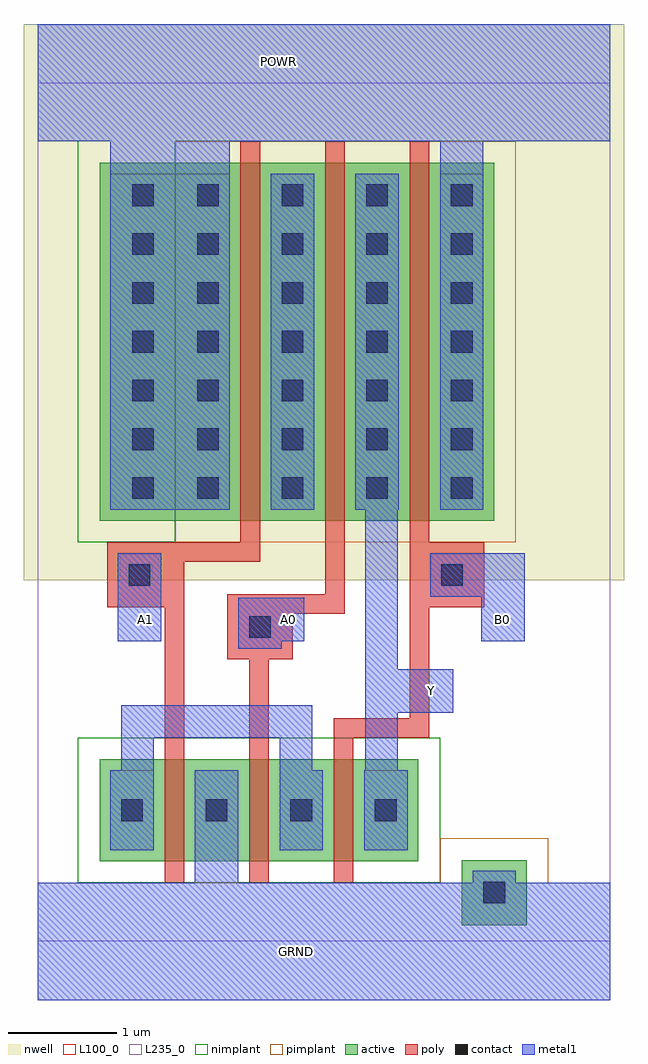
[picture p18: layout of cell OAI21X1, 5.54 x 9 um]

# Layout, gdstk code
import gdstk
lib = gdstk.Library(unit=1e-6, precision=1e-09)
def R(c, l, rs):  # rectangles x0, y0, x1, y1
    for r in rs: c.add(gdstk.rectangle(r[:2], r[2:], *l))
def A(c, l, x, y, w, h, nx, ny, dx, dy):  # array of equal rectangles
    R(c, l, [(x+i*dx, y+j*dy, x+i*dx+w, y+j*dy+h) for i in range(nx) for j in range(ny)])
def P(c, l, *ps):  # polygons
    for p in ps: c.add(gdstk.Polygon(p, *l))
active = (1, 0)
nwell = (2, 0)
poly = (3, 0)
nimplant = (4, 0)
pimplant = (5, 0)
contact = (6, 0)
metal1 = (7, 0)
L100_0 = (100, 0)
L235_0 = (235, 0)

oai21x1 = lib.new_cell('OAI21X1')
A(oai21x1, active, 0.57, 0.74, 0.6, 0.94, 4, 1, 0.78, 0)
A(oai21x1, active, 1.17, 0.74, 0.18, 0.94, 3, 1, 0.78, 0)
A(oai21x1, active, 1.87, 3.88, 0.18, 3.3, 3, 1, 0.78, 0)
A(oai21x1, active, 2.05, 3.88, 0.6, 3.3, 3, 1, 0.78, 0)
R(oai21x1, active, [(3.91,0.15,4.51,0.75), (0.57,3.88,1.87,7.18)])
R(oai21x1, nwell, [(-0.13,3.33,5.41,8.46)])
A(oai21x1, poly, 1.17, 1.68, 0.18, 0.2, 3, 1, 0.78, 0)
A(oai21x1, poly, 1.87, 3.68, 0.18, 0.2, 3, 2, 0.78, 3.5)
A(oai21x1, poly, 1.87, 3.68, 0.18, 3.7, 3, 1, 0.78, 0)
R(oai21x1, poly, [(1.17,0.54,1.35,1.88), (1.17,0.54,1.35,1.88), (1.17,0.54,1.35,0.74), (1.17,0.54,1.35,0.74), (1.95,0.54,2.13,1.88), (1.95,0.54,2.13,1.88), (1.95,0.54,2.13,0.74), (1.95,0.54,2.13,0.74), (2.73,0.54,2.91,1.88), (2.73,0.54,2.91,1.88), (2.73,0.54,2.91,0.74), (2.73,0.54,2.91,0.74)])
P(oai21x1, poly, [(2.05,3.68),(0.64,3.68),(0.64,3.08),(1.17,3.08),(1.17,1.88),(1.35,1.88),(1.35,3.5),(2.05,3.5)],
  [(2.83,3.68),(2.65,3.68),(2.65,3.2),(1.75,3.2),(1.75,2.6),(1.95,2.6),(1.95,1.88),(2.13,1.88),(2.13,2.6),(2.35,2.6),(2.35,3.02),(2.83,3.02)],
  [(4.12,3.68),(3.43,3.68),(3.43,2.06),(2.73,2.06),(2.73,1.88),(3.61,1.88),(3.61,3.08),(4.12,3.08)])
R(oai21x1, nimplant, [(0.37,0.54,3.71,1.88)])
P(oai21x1, nimplant, [(5.28,8.46),(0,8.46),(0,7.38),(0.37,7.38),(0.37,3.68),(1.27,3.68),(1.27,7.38),(5.28,7.38)])
R(oai21x1, pimplant, [(0,-0.54,5.28,0.54), (3.71,-0.05,4.71,0.95), (1.27,3.68,4.41,7.38)])
A(oai21x1, contact, 0.77, 1.11, 0.2, 0.2, 4, 1, 0.78, 0)
A(oai21x1, contact, 0.87, 4.08, 0.2, 0.2, 1, 7, 0, 0.45)
A(oai21x1, contact, 1.47, 4.08, 0.2, 0.2, 4, 7, 0.78, 0.45)
R(oai21x1, contact, [(4.11,0.35,4.31,0.55), (1.95,2.8,2.15,3), (0.84,3.28,1.04,3.48), (0.84,3.28,1.04,3.48), (3.72,3.28,3.92,3.48), (3.72,3.28,3.92,3.48)])
R(oai21x1, metal1, [(0,-0.54,5.28,0.54), (4.01,0.25,4.41,0.65), (3.02,1.58,3.32,3.98), (3.48,2.16,3.78,2.46), (1.85,2.7,2.25,3.1), (0.74,2.77,1.14,3.58), (0.84,2.82,1.14,3.12), (2.16,2.82,2.46,3.12), (4.14,2.82,4.44,3.12), (0,7.38,5.28,8.46)])
P(oai21x1, metal1, [(1.77,7.38),(0.67,7.38),(0.67,3.98),(1.37,3.98),(1.37,7.08),(1.77,7.08)])
R(oai21x1, L100_0, [(0.67,0.84,1.07,1.58), (3.01,0.84,3.41,1.58), (0.67,3.98,1.77,7.08), (3.71,3.98,4.11,7.08)])
R(oai21x1, L235_0, [(0,0,5.28,7.92)])
oai21x1.add(gdstk.FlexPath([(2.46,2.97),(1.85,2.97)], 0.4, ends="flush", simple_path=True, layer=7, datatype=0))  # metal1
oai21x1.add(gdstk.FlexPath([(1.65,0.84),(1.65,0.54)], 0.4, ends="flush", simple_path=True, layer=7, datatype=0))  # metal1
oai21x1.add(gdstk.FlexPath([(3.21,0.84),(3.21,1.58)], 0.4, ends="flush", simple_path=True, layer=7, datatype=0))  # metal1
oai21x1.add(gdstk.FlexPath([(3.62,3.38),(4.29,3.38),(4.29,2.77)], 0.4, ends="flush", simple_path=True, layer=7, datatype=0))  # metal1
oai21x1.add(gdstk.FlexPath([(2.43,0.84),(2.43,1.58)], 0.4, ends="flush", simple_path=True, layer=7, datatype=0))  # metal1
oai21x1.add(gdstk.FlexPath([(1.65,0.84),(1.65,1.58)], 0.4, ends="flush", simple_path=True, layer=7, datatype=0))  # metal1
oai21x1.add(gdstk.FlexPath([(0.87,0.84),(0.87,1.58)], 0.4, ends="flush", simple_path=True, layer=7, datatype=0))  # metal1
oai21x1.add(gdstk.FlexPath([(3.32,2.31),(3.83,2.31)], 0.4, ends="flush", simple_path=True, layer=7, datatype=0))  # metal1
oai21x1.add(gdstk.FlexPath([(3.91,7.07),(3.91,7.38)], 0.4, ends="flush", simple_path=True, layer=7, datatype=0))  # metal1
oai21x1.add(gdstk.FlexPath([(0.92,1.58),(0.92,2.03),(2.38,2.03),(2.38,1.58)], 0.3, ends="flush", simple_path=True, layer=7, datatype=0))  # metal1
oai21x1.add(gdstk.FlexPath([(1.57,3.98),(1.57,7.08)], 0.4, ends="flush", simple_path=True, layer=7, datatype=0))  # metal1
oai21x1.add(gdstk.FlexPath([(2.35,3.98),(2.35,7.08)], 0.4, ends="flush", simple_path=True, layer=7, datatype=0))  # metal1
oai21x1.add(gdstk.FlexPath([(3.13,3.98),(3.13,7.08)], 0.4, ends="flush", simple_path=True, layer=7, datatype=0))  # metal1
oai21x1.add(gdstk.FlexPath([(3.91,3.98),(3.91,7.08)], 0.4, ends="flush", simple_path=True, layer=7, datatype=0))  # metal1
oai21x1.add(gdstk.Label('B0', (4.29,2.97), layer=230, texttype=0))
oai21x1.add(gdstk.Label('A0', (2.31,2.97), layer=230, texttype=0))
oai21x1.add(gdstk.Label('A1', (0.99,2.97), layer=230, texttype=0))
oai21x1.add(gdstk.Label('Y', (3.63,2.31), layer=230, texttype=0))
oai21x1.add(gdstk.Label('GRND', (2.39,-0.09), layer=230, texttype=0))
oai21x1.add(gdstk.Label('POWR', (2.22,8.11), layer=230, texttype=0))

lib.write_gds('OAI21X1.gds')
